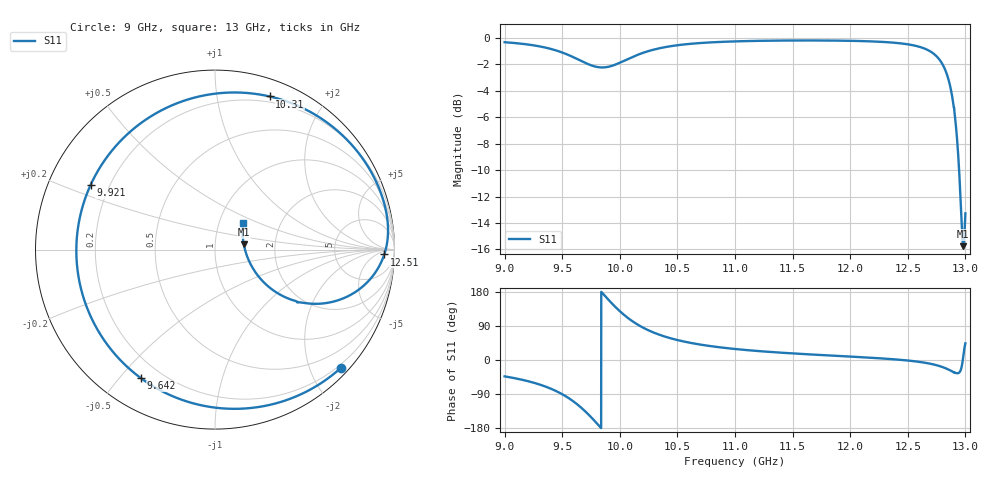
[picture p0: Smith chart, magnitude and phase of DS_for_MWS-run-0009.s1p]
! TOUCHSTONE file generated by CST DESIGN STUDIO
! Date and time: Tue Feb  4 13:02:25 2025
! Project name: C:\Work\MatlabApps\UnitCellOptimizationMatlab\CST\unitcell.cst
! Tree item: Tasks\Sweep1\SPara1\S-Parameters
! Header version: 2024
! Port assignment regex: !\s*Touchstone port\s*([0-9]+)\s*=\s*(CST MWS port|CST DES external port|CST DES block port)\s*(.+)\s* \(\"(.*)\"\)(\s*mode\s*([0-9]+))?.*
! Touchstone port assignment:
! Touchstone port 1 = CST DES external port 1 ("")
# GHz S MA R 50
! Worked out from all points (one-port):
!   4001 points, 9 GHz to 13 GHz, reference 50 ohm
!   lowest |S11| = -15.8 dB at 12.98 GHz (marker M1), VSWR 1.39, Z = 68.9 + j4.25 ohm
!   |S11| at or under -10 dB: 12.94537 GHz to end of sweep
!   S11 on the Smith chart (normalised r, x): 9 GHz: 0.14, -2.52; 9.642 GHz: 0.13, -0.57; 9.921 GHz: 0.13, +0.24; 10.31 GHz: 0.15, +1.41; 12.51 GHz: 28, -14; 13 GHz: 1.30, +0.41
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9  0.9623 -43.2
9.277  0.9325 -62.2
9.392  0.91 -74.5
9.5  0.8799 -90.3
9.575  0.8533 -104.4
9.642  0.8268 -119.9
9.715  0.7987 -139.9
9.794  0.7772 -164.9
9.857  0.7726 173.8
9.921  0.7811 152.6
10  0.805 128.9
10.065  0.8295 112.2
10.134  0.8551 97.4
10.311  0.906 70.4
10.5  0.9374 52.6
10.717  0.9567 39.8
11  0.9693 29.1
11.5  0.9769 17.4
12  0.9741 9.0
12.5  0.9449 -1.4
12.509  0.9435 -1.6
12.723  0.8718 -11.7
12.792  0.8068 -17.6
12.849  0.7061 -24.6
12.92  0.4537 -34.5
12.968  0.196 -17.2
12.982  0.163 10.6
13  0.217 44.0
